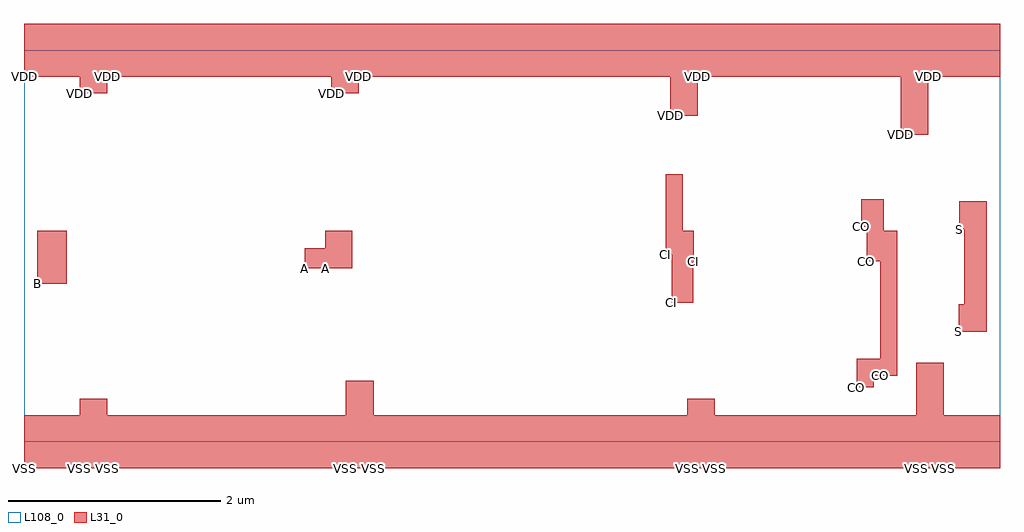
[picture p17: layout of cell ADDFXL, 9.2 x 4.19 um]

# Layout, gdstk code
import gdstk
lib = gdstk.Library(unit=1e-6, precision=1e-09)
def R(c, l, rs):  # rectangles x0, y0, x1, y1
    for r in rs: c.add(gdstk.rectangle(r[:2], r[2:], *l))
L31_0 = (31, 0)
L108_0 = (108, 0)

addfxl = lib.new_cell('ADDFXL')
R(addfxl, L31_0, [(0,-0.25,0.525,0.25), (0.525,-0.25,0.785,0.405), (0.785,-0.25,3.035,0.25), (3.035,-0.25,3.295,0.575), (3.295,-0.25,6.25,0.25), (6.25,-0.25,6.51,0.405), (6.51,-0.25,8.41,0.25), (8.41,-0.25,8.67,0.745), (8.67,-0.25,9.2,0.25), (7.85,0.515,8.01,0.78), (8.01,0.62,8.07,0.78), (8.07,0.62,8.105,2.285), (8.105,0.62,8.23,1.99), (8.81,1.035,8.865,1.295), (8.865,1.035,9.075,2.265), (6.105,1.31,6.21,2.52), (6.21,1.31,6.31,1.99), (0.125,1.49,0.405,1.99), (2.645,1.635,2.84,1.825), (2.84,1.635,3.095,1.99), (6.31,1.7,6.315,1.99), (7.945,1.7,8.07,2.285), (6.05,1.765,6.105,2.52), (8.815,2.005,8.865,2.265), (7.89,2.025,7.945,2.285), (8.265,2.895,8.525,3.94), (6.09,3.075,6.35,3.94), (0.525,3.285,0.785,3.94), (2.895,3.285,3.155,3.94), (0,3.44,0.525,3.94), (0.785,3.44,2.895,3.94), (3.155,3.44,6.09,3.94), (6.35,3.44,8.265,3.94), (8.525,3.44,9.2,3.94)])
R(addfxl, L108_0, [(0,0,9.2,3.69)])
addfxl.add(gdstk.Label('S', (8.815,2.005), layer=131, texttype=0))
addfxl.add(gdstk.Label('S', (8.81,1.035), layer=131, texttype=0))
addfxl.add(gdstk.Label('S', (8.865,1.035), layer=131, texttype=0))
addfxl.add(gdstk.Label('CO', (7.89,2.025), layer=131, texttype=0))
addfxl.add(gdstk.Label('CO', (7.85,0.515), layer=131, texttype=0))
addfxl.add(gdstk.Label('CO', (7.945,1.7), layer=131, texttype=0))
addfxl.add(gdstk.Label('CO', (8.01,0.62), layer=131, texttype=0))
addfxl.add(gdstk.Label('CO', (8.07,0.62), layer=131, texttype=0))
addfxl.add(gdstk.Label('CO', (8.105,0.62), layer=131, texttype=0))
addfxl.add(gdstk.Label('CI', (6.05,1.765), layer=131, texttype=0))
addfxl.add(gdstk.Label('CI', (6.105,1.31), layer=131, texttype=0))
addfxl.add(gdstk.Label('CI', (6.21,1.31), layer=131, texttype=0))
addfxl.add(gdstk.Label('CI', (6.31,1.7), layer=131, texttype=0))
addfxl.add(gdstk.Label('B', (0.125,1.49), layer=131, texttype=0))
addfxl.add(gdstk.Label('A', (2.645,1.635), layer=131, texttype=0))
addfxl.add(gdstk.Label('A', (2.84,1.635), layer=131, texttype=0))
addfxl.add(gdstk.Label('VSS', (0,-0.25), layer=131, texttype=0))
addfxl.add(gdstk.Label('VSS', (0.525,-0.25), layer=131, texttype=0))
addfxl.add(gdstk.Label('VSS', (0.785,-0.25), layer=131, texttype=0))
addfxl.add(gdstk.Label('VSS', (3.035,-0.25), layer=131, texttype=0))
addfxl.add(gdstk.Label('VSS', (3.295,-0.25), layer=131, texttype=0))
addfxl.add(gdstk.Label('VSS', (6.25,-0.25), layer=131, texttype=0))
addfxl.add(gdstk.Label('VSS', (6.51,-0.25), layer=131, texttype=0))
addfxl.add(gdstk.Label('VSS', (8.41,-0.25), layer=131, texttype=0))
addfxl.add(gdstk.Label('VSS', (8.67,-0.25), layer=131, texttype=0))
addfxl.add(gdstk.Label('VDD', (0,3.44), layer=131, texttype=0))
addfxl.add(gdstk.Label('VDD', (0.525,3.285), layer=131, texttype=0))
addfxl.add(gdstk.Label('VDD', (0.785,3.44), layer=131, texttype=0))
addfxl.add(gdstk.Label('VDD', (2.895,3.285), layer=131, texttype=0))
addfxl.add(gdstk.Label('VDD', (3.155,3.44), layer=131, texttype=0))
addfxl.add(gdstk.Label('VDD', (6.09,3.075), layer=131, texttype=0))
addfxl.add(gdstk.Label('VDD', (6.35,3.44), layer=131, texttype=0))
addfxl.add(gdstk.Label('VDD', (8.265,2.895), layer=131, texttype=0))
addfxl.add(gdstk.Label('VDD', (8.525,3.44), layer=131, texttype=0))

lib.write_gds('ADDFXL.gds')
